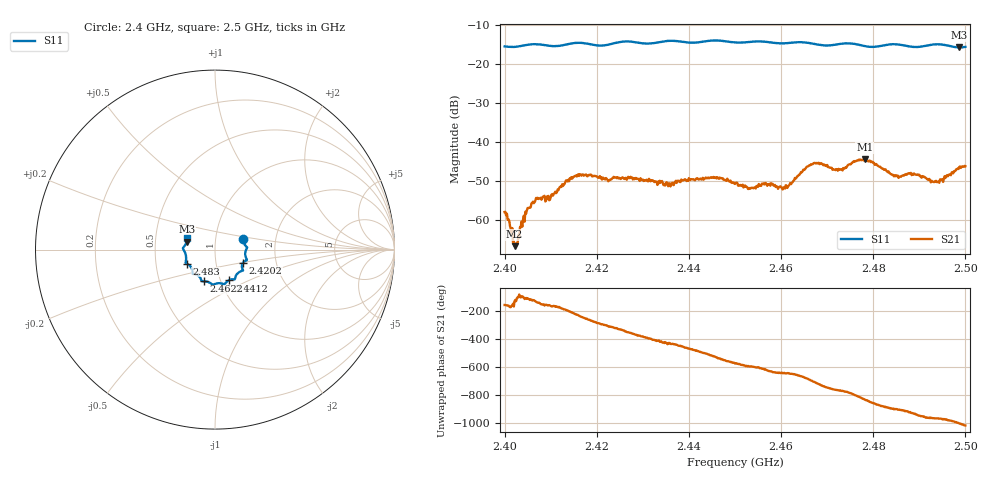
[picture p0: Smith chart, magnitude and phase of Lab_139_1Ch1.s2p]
# Hz S RI R 50
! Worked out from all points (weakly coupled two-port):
!   601 points, 2.4 GHz to 2.5 GHz, reference 50 ohm
!   highest |S21| = -44.46 dB at 2.4782 GHz (marker M1); lowest = -66.8 dB at 2.4022 GHz (marker M2)
!   lowest |S11| = -15.7 dB at 2.4987 GHz (marker M3), VSWR 1.39, Z = 36.3 + j3.29 ohm
!   |S11| at or under -10 dB: start of sweep to end of sweep
!   S12 and S22 are empty: the file has one direction only
!   S11 on the Smith chart (normalised r, x): 2.4 GHz: 1.36, +0.17; 2.4202 GHz: 1.36, -0.20; 2.4412 GHz: 1.09, -0.39; 2.4622 GHz: 0.83, -0.30; 2.483 GHz: 0.72, -0.12; 2.5 GHz: 0.73, +0.09
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2.4e9  0.1572 0.0602  -0.00114 -0.000542  0 0  0 0
2.402167e9  0.1619 0.0353  -0.000268 -0.000373  0 0  0 0
2.402667e9  0.164 0.0304  -0.00014 -0.000488  0 0  0 0
2.4045e9  0.1734 0.0177  -0.000366 -0.00122  0 0  0 0
2.406333e9  0.1792 0.0124  -0.000838 -0.0014  0 0  0 0
2.409333e9  0.1728 -0.00186  -0.00173 -0.00071  0 0  0 0
2.413667e9  0.1733 -0.0462  -0.00302 0.000678  0 0  0 0
2.416667e9  0.1771 -0.0587  -0.00186 0.0032  0 0  0 0
2.420167e9  0.157 -0.0725  0.000875 0.00341  0 0  0 0
2.433333e9  0.1135 -0.152  0.00203 -0.00234  0 0  0 0
2.441167e9  0.0758 -0.1719  -0.00149 -0.0029  0 0  0 0
2.45e9  0.027 -0.1872  -0.00243 0.00155  0 0  0 0
2.453333e9  -0.00211 -0.1922  -0.00151 0.00201  0 0  0 0
2.462167e9  -0.0625 -0.1768  0.000774 0.00276  0 0  0 0
2.466667e9  -0.0773 -0.1665  0.00468 0.00216  0 0  0 0
2.472833e9  -0.1194 -0.1364  0.00319 -0.00303  0 0  0 0
2.478167e9  -0.1276 -0.1121  -0.00197 -0.00565  0 0  0 0
2.483e9  -0.1585 -0.078  -0.00405 -0.00103  0 0  0 0
2.483333e9  -0.1601 -0.0771  -0.00408 -0.000878  0 0  0 0
2.493833e9  -0.1792 0.00662  -0.00133 0.00274  0 0  0 0
2.498667e9  -0.1572 0.0441  0.000749 0.0047  0 0  0 0
2.5e9  -0.1539 0.0621  0.002 0.00444  0 0  0 0
